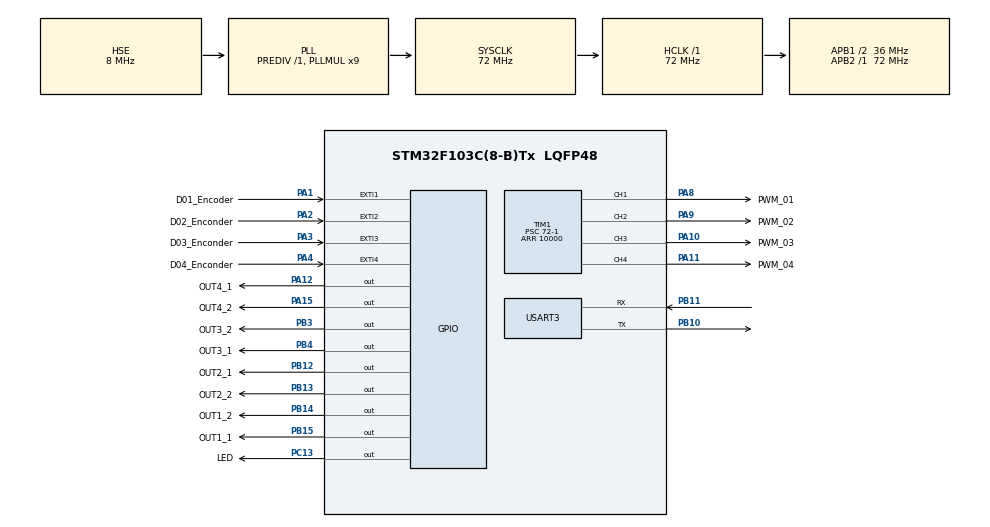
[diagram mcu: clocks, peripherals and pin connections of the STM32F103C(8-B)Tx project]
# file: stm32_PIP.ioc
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FREERTOS.HEAP_NUMBER=3
FREERTOS.Queues01=QueueDataADC,16,uint16_t,0,Dynamic,NULL,NULL
FREERTOS.Tasks01=Modbus,24,128,StartModbus,Default,NULL,Dynamic,NULL,NULL;ADC,8,128,StartADC,Default,NULL,Dynamic,NULL,NULL;Encoders,32,128,StartEncoders,Default,NULL,Dynamic,NULL,NULL;Control,32,128,StartControl,Default,NULL,Dynamic,NULL,NULL
Mcu.Family=STM32F1
Mcu.Name=STM32F103C(8-B)Tx
Mcu.Package=LQFP48
NVIC.EXTI1_IRQn=true\:5\:0\:false\:false\:true\:true\:true\:true
NVIC.EXTI2_IRQn=true\:5\:0\:false\:false\:true\:true\:true\:true
NVIC.EXTI3_IRQn=true\:5\:0\:false\:false\:true\:true\:true\:true
NVIC.EXTI4_IRQn=true\:5\:0\:false\:false\:true\:true\:true\:true
NVIC.PriorityGroup=NVIC_PRIORITYGROUP_4
NVIC.TIM2_IRQn=true\:5\:0\:false\:false\:true\:true\:true\:true
NVIC.TIM4_IRQn=true\:15\:0\:false\:false\:true\:false\:false\:true
NVIC.TimeBase=TIM4_IRQn
NVIC.TimeBaseIP=TIM4
NVIC.USART3_IRQn=true\:5\:0\:false\:false\:true\:true\:true\:true
PA1.GPIO_Label=D01_Encoder
PA1.Signal=GPXTI1
PA10.GPIO_Label=PWM_03
PA10.Signal=S_TIM1_CH3
PA11.GPIO_Label=PWM_04
PA11.Signal=S_TIM1_CH4
PA12.GPIO_Label=OUT4_1
PA12.Signal=GPIO_Output
PA13.Mode=Serial_Wire
PA13.Signal=SYS_JTMS-SWDIO
PA14.Mode=Serial_Wire
PA14.Signal=SYS_JTCK-SWCLK
PA15.GPIO_Label=OUT4_2
PA15.Signal=GPIO_Output
PA2.GPIO_Label=D02_Enconder
PA2.Signal=GPXTI2
PA3.GPIO_Label=D03_Enconder
PA3.Signal=GPXTI3
PA4.GPIO_Label=D04_Enconder
PA4.Signal=GPXTI4
PA8.GPIO_Label=PWM_01
PA8.Signal=S_TIM1_CH1
PA9.GPIO_Label=PWM_02
PA9.Signal=S_TIM1_CH2
PB10.Mode=Asynchronous
PB10.Signal=USART3_TX
PB11.Mode=Asynchronous
PB11.Signal=USART3_RX
PB12.GPIO_Label=OUT2_1
PB12.Signal=GPIO_Output
PB13.GPIO_Label=OUT2_2
PB13.Signal=GPIO_Output
PB14.GPIO_Label=OUT1_2
PB14.Signal=GPIO_Output
PB15.GPIO_Label=OUT1_1
PB15.Signal=GPIO_Output
PB3.GPIO_Label=OUT3_2
PB3.Signal=GPIO_Output
PB4.GPIO_Label=OUT3_1
PB4.Signal=GPIO_Output
PC13-TAMPER-RTC.GPIO_Label=LED
PC13-TAMPER-RTC.Signal=GPIO_Output
PD0-OSC_IN.Mode=HSE-External-Oscillator
PD0-OSC_IN.Signal=RCC_OSC_IN
PD1-OSC_OUT.Mode=HSE-External-Oscillator
PD1-OSC_OUT.Signal=RCC_OSC_OUT
ProjectManager.HeapSize=0x200
ProjectManager.StackSize=0x400
ProjectManager.TargetToolchain=STM32CubeIDE
RCC.ADCPresc=RCC_ADCPCLK2_DIV6
RCC.AHBFreq_Value=72000000
RCC.APB1CLKDivider=RCC_HCLK_DIV2
RCC.APB1Freq_Value=36000000
RCC.APB1TimFreq_Value=72000000
RCC.APB2Freq_Value=72000000
RCC.APB2TimFreq_Value=72000000
RCC.HCLKFreq_Value=72000000
RCC.PLLMUL=RCC_PLL_MUL9
RCC.PLLSourceVirtual=RCC_PLLSOURCE_HSE
RCC.SYSCLKFreq_VALUE=72000000
RCC.SYSCLKSource=RCC_SYSCLKSOURCE_PLLCLK
RCC.USBFreq_Value=72000000
SH.S_TIM1_CH1.0=TIM1_CH1,PWM Generation1 CH1
SH.S_TIM1_CH2.0=TIM1_CH2,PWM Generation2 CH2
SH.S_TIM1_CH3.0=TIM1_CH3,PWM Generation3 CH3
SH.S_TIM1_CH4.0=TIM1_CH4,PWM Generation4 CH4
TIM1.AutoReloadPreload=TIM_AUTORELOAD_PRELOAD_ENABLE
TIM1.Channel-PWM\ Generation1\ CH1=TIM_CHANNEL_1
TIM1.Channel-PWM\ Generation2\ CH2=TIM_CHANNEL_2
TIM1.Channel-PWM\ Generation3\ CH3=TIM_CHANNEL_3
TIM1.Channel-PWM\ Generation4\ CH4=TIM_CHANNEL_4
TIM1.CounterMode=TIM_COUNTERMODE_UP
TIM1.OCFastMode_PWM-PWM\ Generation1\ CH1=TIM_OCFAST_DISABLE
TIM1.Period=10000
TIM1.Prescaler=72-1
TIM2.AutoReloadPreload=TIM_AUTORELOAD_PRELOAD_ENABLE
TIM2.CounterMode=TIM_COUNTERMODE_UP
TIM2.Period=50000-1
TIM2.Prescaler=1440-1
USART3.VirtualMode=VM_ASYNC
VP_FREERTOS_VS_CMSIS_V2.Mode=CMSIS_V2
VP_SYS_VS_tim4.Mode=TIM4
VP_TIM1_VS_ClockSourceINT.Mode=Internal
VP_TIM2_VS_ClockSourceINT.Mode=Internal
board=custom

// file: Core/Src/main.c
/* USER CODE BEGIN Header */
/**
 ******************************************************************************
 * @file           : main.c
 * @brief          : Main program body
 ******************************************************************************
 * @attention
 *
 * <h2><center>&copy; Copyright (c) 2021 STMicroelectronics.
 * All rights reserved.</center></h2>
 *
 * This software component is licensed by ST under BSD 3-Clause license,
 * the "License"; You may not use this file except in compliance with the
 * License. You may obtain a copy of the License at:
 *                        opensource.org/licenses/BSD-3-Clause
 *
 ******************************************************************************
 */
/* USER CODE END Header */
#include "main.h"
#include "cmsis_os.h"

/* USER CODE BEGIN Includes */
#include "string.h"
#include "stdio.h"
#include "Modbus.h"
#include "ModbusConfig.h"

#include "contol.h"
#include "contol.c"

#include "Subsystem.c"
#include "Subsystem.h"

/* USER CODE END Includes */

TIM_HandleTypeDef htim1;
TIM_HandleTypeDef htim2;

UART_HandleTypeDef huart3;

/* Definitions for Modbus */
osThreadId_t ModbusHandle;
const osThreadAttr_t Modbus_attributes = {
  .name = "Modbus",
  .stack_size = 128 * 4,
  .priority = (osPriority_t) osPriorityNormal,
};
/* Definitions for ADC */
osThreadId_t ADCHandle;
const osThreadAttr_t ADC_attributes = {
  .name = "ADC",
  .stack_size = 128 * 4,
  .priority = (osPriority_t) osPriorityLow,
};
/* Definitions for Encoders */
osThreadId_t EncodersHandle;
const osThreadAttr_t Encoders_attributes = {
  .name = "Encoders",
  .stack_size = 128 * 4,
  .priority = (osPriority_t) osPriorityAboveNormal,
};
/* Definitions for Control */
osThreadId_t ControlHandle;
const osThreadAttr_t Control_attributes = {
  .name = "Control",
  .stack_size = 128 * 4,
  .priority = (osPriority_t) osPriorityAboveNormal,
};
/* Definitions for QueueDataADC */
osMessageQueueId_t QueueDataADCHandle;
const osMessageQueueAttr_t QueueDataADC_attributes = {
  .name = "QueueDataADC"
};

void SystemClock_Config(void);
static void MX_GPIO_Init(void);
static void MX_USART3_UART_Init(void);
static void MX_TIM1_Init(void);
static void MX_TIM2_Init(void);
void StartModbus(void *argument);
void StartADC(void *argument);
void StartEncoders(void *argument);
void StartControl(void *argument);

/* USER CODE BEGIN 0 */
//---------------->  Modbus
modbusHandler_t ModbusH;
uint16_t ModbusDATA[13]={1,0,0,0,0,0,0,0,0,0,0,0,0}; // Mapa modbus!
//---------------->
uint32_t Ts =100; // En ms!

//---------------->  Variables para calcular velocidad
float velocidad = 0;
float velocidad_prima1,velocidad_prima2;
uint32_t ticksPrev = 0;
uint32_t ticksNow = 0;
uint32_t overflow = 0; // Cantidad de desbordes del timer
uint64_t deltaTicks = 0;
uint32_t ranuras = 50;
uint32_t cantTicksTmr2 = 50000;
uint64_t fsTmr2= 50000;
uint64_t tickFilter = 625;
float mean [50] = {'\0'};
float resultMean = 0;
uint16_t interrupciones=1;

float p1[3]={1611,4604,24790};
float p2[3]={572.6,-1886,-27210};
uint32_t CCR_obtained=0;

//----------------

//float moveMean(float *arr, float vel){
//	// Vector de desplazamiento
//	for (uint16_t i = 1; i < sizeof(arr); ++i) {
//		arr[i-1]=arr[i];
//	}
//	arr[sizeof(arr)-1] = vel;
//
//	// Ahora aplico el filtro
//	float result = 0;
//	for (int i = 0; i < sizeof(arr); ++i) {
//		result += arr[i];
//	}
//	result = result/((float)sizeof(arr));
//	return result;
//}

uint32_t funcion_linealizadora(uint16_t velocidadSetpoint){

	float setp = (float)velocidadSetpoint;

	if(setp/100.0 < 0.799034){
		htim1.Instance->CCR1=(uint32_t)(p1[0]*setp/100.0+p2[0]);
	}

	if(setp/100.0 > 0.799034 && setp/100.0<=1.23805){
			htim1.Instance->CCR1=(uint32_t)(p1[1]*setp/100.0+p2[1]);
		}

	if(setp/100.0 > 1.23805) {
				htim1.Instance->CCR1=(uint32_t)(p1[2]*setp/100.0+p2[2]);
			}
	return htim1.Instance->CCR1;
}

// Si se interrumpe por flanco ascendente del pin 0 (Enconder optico)
void HAL_GPIO_EXTI_Callback (uint16_t GPIO_Pin){
	if (GPIO_Pin == D01_Encoder_Pin){
		uint32_t ticksAux = 0;
		ticksAux = ticksPrev;
		ticksPrev = ticksNow;
		ticksNow = __HAL_TIM_GetCounter(&htim2);

		if (overflow == 0){
			// Todo cool, calculo normal
			deltaTicks = (uint64_t)(ticksNow - ticksPrev);
			if (deltaTicks > tickFilter){
				velocidad = ((1/(float)ranuras)/((float)deltaTicks/(float)fsTmr2));

				//Filtro IIR
				velocidad_prima2 = velocidad_prima1;
				velocidad_prima1 = 0.9*velocidad_prima2 + 0.1*velocidad;
			}
			else{
				ticksNow = ticksPrev;
				ticksPrev = ticksAux;
			}
		} else{
			// Tuve algun desborde y tengo que tenerlo en cuenta
			deltaTicks = (uint64_t)(ticksNow + overflow * cantTicksTmr2)- ticksPrev;
			if (deltaTicks > tickFilter){
				velocidad = ((1/(float)ranuras)/((float)deltaTicks/(float)fsTmr2));

				//Filtro IIR
				velocidad_prima2 = velocidad_prima1;
				velocidad_prima1 = 0.9*velocidad_prima2 + 0.1*velocidad;

				overflow = 0;
			}
			else{
				ticksNow = ticksPrev;
				ticksPrev = ticksAux;
			}
		}

		//		if(deltaTicks == 0){
		//			velocidad = 0;
		//
		//	 }
	}

}

// Si se desborda el timer 2 entra a este callback:
//void HAL_TIM_PeriodElapsedCallback(TIM_HandleTypeDef *htim)
//{
//  /* USER CODE BEGIN Callback 0 */
//  // ESTO ES DE FREERTOS
//  /* USER CODE END Callback 0 */
//  if (htim->Instance == TIM4) {
//    HAL_IncTick();
//  }
//  /* USER CODE BEGIN Callback 1 */
//  if(htim->Instance == TIM2){
//	 overflow += 1;
//  }
//  /* USER CODE END Callback 1 */
//}

void Sentido(uint16_t valor){
	//Motor gira en un sentido
	if(valor == 0){
		HAL_GPIO_WritePin(OUT1_2_GPIO_Port, OUT1_2_Pin, SET);
		HAL_GPIO_WritePin(OUT1_1_GPIO_Port, OUT1_1_Pin, RESET);
	}
	//Motor gira en otro sentido
	else if(valor == 1){
		HAL_GPIO_WritePin(OUT1_2_GPIO_Port, OUT1_2_Pin, RESET);
		HAL_GPIO_WritePin(OUT1_1_GPIO_Port, OUT1_1_Pin, SET);

	}
	else{ // Break
		HAL_GPIO_WritePin(OUT1_2_GPIO_Port, OUT1_2_Pin, RESET);
		HAL_GPIO_WritePin(OUT1_1_GPIO_Port, OUT1_1_Pin, RESET);
	}
}

/* USER CODE END 0 */

int main(void)
{

  /* MCU Configuration--------------------------------------------------------*/

  /* Reset of all peripherals, Initializes the Flash interface and the Systick. */
  HAL_Init();

  /* Configure the system clock */
  SystemClock_Config();

  /* Initialize all configured peripherals */
  MX_GPIO_Init();
  MX_USART3_UART_Init();
  MX_TIM1_Init();
  MX_TIM2_Init();
  /* USER CODE BEGIN 2 */

  contol_initialize();

	// Definiciones para la biblioteca de modbus
	ModbusH.uModbusType = MB_SLAVE;
	ModbusH.port =  &huart3;
	ModbusH.u8id = 1; //Modbus slave ID
	ModbusH.u16timeOut = 1000;
	ModbusH.EN_Port = NULL;
	ModbusH.u16regs = ModbusDATA;
	ModbusH.u16regsize= sizeof(ModbusDATA)/sizeof(ModbusDATA[0]);
	ModbusH.xTypeHW = USART_HW;

	//Initialize Modbus library
	ModbusInit(&ModbusH);
	//Start capturing traffic on serial Port
	ModbusStart(&ModbusH);

	HAL_TIM_PWM_Start(&htim1, TIM_CHANNEL_1);

	contol_initialize();
  /* USER CODE END 2 */

  /* Init scheduler */
  osKernelInitialize();

  /* Create the queue(s) */
  /* creation of QueueDataADC */
  QueueDataADCHandle = osMessageQueueNew (16, sizeof(uint16_t), &QueueDataADC_attributes);

  /* USER CODE BEGIN RTOS_QUEUES */
	/* add queues, ... */
	//  if ( QueueDataADCHandle == 0)  // Queue not created
	//  {
	//	  char *str = "Unable to create Integer Queue\n\n";
	////	  HAL_UART_Transmit(&huart3, (uint8_t *)str, strlen (str), HAL_MAX_DELAY);
	//  }
	//  else
	//  {
	//	  char *str = "Integer Queue Created successfully\n\n";
	////	  HAL_UART_Transmit(&huart3, (uint8_t *)str, strlen (str), HAL_MAX_DELAY);
	//  }
  /* USER CODE END RTOS_QUEUES */

  /* Create the thread(s) */
  /* creation of Modbus */
  ModbusHandle = osThreadNew(StartModbus, NULL, &Modbus_attributes);

  /* creation of ADC */
  ADCHandle = osThreadNew(StartADC, NULL, &ADC_attributes);

  /* creation of Encoders */
  EncodersHandle = osThreadNew(StartEncoders, NULL, &Encoders_attributes);

  /* creation of Control */
  ControlHandle = osThreadNew(StartControl, NULL, &Control_attributes);

  /* Start scheduler */
  osKernelStart();

  /* We should never get here as control is now taken by the scheduler */
  /* Infinite loop */
	while (1)
	{

	}
}

void SystemClock_Config(void)
{
  RCC_OscInitTypeDef RCC_OscInitStruct = {0};
  RCC_ClkInitTypeDef RCC_ClkInitStruct = {0};

  /** Initializes the RCC Oscillators according to the specified parameters
  * in the RCC_OscInitTypeDef structure.
  */
  RCC_OscInitStruct.OscillatorType = RCC_OSCILLATORTYPE_HSE;
  RCC_OscInitStruct.HSEState = RCC_HSE_ON;
  RCC_OscInitStruct.HSEPredivValue = RCC_HSE_PREDIV_DIV1;
  RCC_OscInitStruct.HSIState = RCC_HSI_ON;
  RCC_OscInitStruct.PLL.PLLState = RCC_PLL_ON;
  RCC_OscInitStruct.PLL.PLLSource = RCC_PLLSOURCE_HSE;
  RCC_OscInitStruct.PLL.PLLMUL = RCC_PLL_MUL9;
  if (HAL_RCC_OscConfig(&RCC_OscInitStruct) != HAL_OK)
  {
    Error_Handler();
  }
  /** Initializes the CPU, AHB and APB buses clocks
  */
  RCC_ClkInitStruct.ClockType = RCC_CLOCKTYPE_HCLK|RCC_CLOCKTYPE_SYSCLK
                              |RCC_CLOCKTYPE_PCLK1|RCC_CLOCKTYPE_PCLK2;
  RCC_ClkInitStruct.SYSCLKSource = RCC_SYSCLKSOURCE_PLLCLK;
  RCC_ClkInitStruct.AHBCLKDivider = RCC_SYSCLK_DIV1;
  RCC_ClkInitStruct.APB1CLKDivider = RCC_HCLK_DIV2;
  RCC_ClkInitStruct.APB2CLKDivider = RCC_HCLK_DIV1;

  if (HAL_RCC_ClockConfig(&RCC_ClkInitStruct, FLASH_LATENCY_2) != HAL_OK)
  {
    Error_Handler();
  }
}

static void MX_TIM1_Init(void)
{

  TIM_ClockConfigTypeDef sClockSourceConfig = {0};
  TIM_MasterConfigTypeDef sMasterConfig = {0};
  TIM_OC_InitTypeDef sConfigOC = {0};
  TIM_BreakDeadTimeConfigTypeDef sBreakDeadTimeConfig = {0};

  htim1.Instance = TIM1;
  htim1.Init.Prescaler = 72-1;
  htim1.Init.CounterMode = TIM_COUNTERMODE_UP;
  htim1.Init.Period = 10000;
  htim1.Init.ClockDivision = TIM_CLOCKDIVISION_DIV1;
  htim1.Init.RepetitionCounter = 0;
  htim1.Init.AutoReloadPreload = TIM_AUTORELOAD_PRELOAD_ENABLE;
  if (HAL_TIM_Base_Init(&htim1) != HAL_OK)
  {
    Error_Handler();
  }
  sClockSourceConfig.ClockSource = TIM_CLOCKSOURCE_INTERNAL;
  if (HAL_TIM_ConfigClockSource(&htim1, &sClockSourceConfig) != HAL_OK)
  {
    Error_Handler();
  }
  if (HAL_TIM_PWM_Init(&htim1) != HAL_OK)
  {
    Error_Handler();
  }
  sMasterConfig.MasterOutputTrigger = TIM_TRGO_RESET;
  sMasterConfig.MasterSlaveMode = TIM_MASTERSLAVEMODE_DISABLE;
  if (HAL_TIMEx_MasterConfigSynchronization(&htim1, &sMasterConfig) != HAL_OK)
  {
    Error_Handler();
  }
  sConfigOC.OCMode = TIM_OCMODE_PWM1;
  sConfigOC.Pulse = 0;
  sConfigOC.OCPolarity = TIM_OCPOLARITY_HIGH;
  sConfigOC.OCNPolarity = TIM_OCNPOLARITY_HIGH;
  sConfigOC.OCFastMode = TIM_OCFAST_DISABLE;
  sConfigOC.OCIdleState = TIM_OCIDLESTATE_RESET;
  sConfigOC.OCNIdleState = TIM_OCNIDLESTATE_RESET;
  if (HAL_TIM_PWM_ConfigChannel(&htim1, &sConfigOC, TIM_CHANNEL_1) != HAL_OK)
  {
    Error_Handler();
  }
  if (HAL_TIM_PWM_ConfigChannel(&htim1, &sConfigOC, TIM_CHANNEL_2) != HAL_OK)
  {
    Error_Handler();
  }
  if (HAL_TIM_PWM_ConfigChannel(&htim1, &sConfigOC, TIM_CHANNEL_3) != HAL_OK)
  {
    Error_Handler();
  }
  if (HAL_TIM_PWM_ConfigChannel(&htim1, &sConfigOC, TIM_CHANNEL_4) != HAL_OK)
  {
    Error_Handler();
  }
  sBreakDeadTimeConfig.OffStateRunMode = TIM_OSSR_DISABLE;
  sBreakDeadTimeConfig.OffStateIDLEMode = TIM_OSSI_DISABLE;
  sBreakDeadTimeConfig.LockLevel = TIM_LOCKLEVEL_OFF;
  sBreakDeadTimeConfig.DeadTime = 0;
  sBreakDeadTimeConfig.BreakState = TIM_BREAK_DISABLE;
  sBreakDeadTimeConfig.BreakPolarity = TIM_BREAKPOLARITY_HIGH;
  sBreakDeadTimeConfig.AutomaticOutput = TIM_AUTOMATICOUTPUT_DISABLE;
  if (HAL_TIMEx_ConfigBreakDeadTime(&htim1, &sBreakDeadTimeConfig) != HAL_OK)
  {
    Error_Handler();
  }
  HAL_TIM_MspPostInit(&htim1);

}

static void MX_TIM2_Init(void)
{

  TIM_ClockConfigTypeDef sClockSourceConfig = {0};
  TIM_MasterConfigTypeDef sMasterConfig = {0};

  htim2.Instance = TIM2;
  htim2.Init.Prescaler = 1440-1;
  htim2.Init.CounterMode = TIM_COUNTERMODE_UP;
  htim2.Init.Period = 50000-1;
  htim2.Init.ClockDivision = TIM_CLOCKDIVISION_DIV1;
  htim2.Init.AutoReloadPreload = TIM_AUTORELOAD_PRELOAD_ENABLE;
  if (HAL_TIM_Base_Init(&htim2) != HAL_OK)
  {
    Error_Handler();
  }
  sClockSourceConfig.ClockSource = TIM_CLOCKSOURCE_INTERNAL;
  if (HAL_TIM_ConfigClockSource(&htim2, &sClockSourceConfig) != HAL_OK)
  {
    Error_Handler();
  }
  sMasterConfig.MasterOutputTrigger = TIM_TRGO_RESET;
  sMasterConfig.MasterSlaveMode = TIM_MASTERSLAVEMODE_DISABLE;
  if (HAL_TIMEx_MasterConfigSynchronization(&htim2, &sMasterConfig) != HAL_OK)
  {
    Error_Handler();
  }

}

static void MX_USART3_UART_Init(void)
{

  huart3.Instance = USART3;
  huart3.Init.BaudRate = 115200;
  huart3.Init.WordLength = UART_WORDLENGTH_8B;
  huart3.Init.StopBits = UART_STOPBITS_1;
  huart3.Init.Parity = UART_PARITY_NONE;
  huart3.Init.Mode = UART_MODE_TX_RX;
  huart3.Init.HwFlowCtl = UART_HWCONTROL_NONE;
  huart3.Init.OverSampling = UART_OVERSAMPLING_16;
  if (HAL_UART_Init(&huart3) != HAL_OK)
  {
    Error_Handler();
  }

}

static void MX_GPIO_Init(void)
{
  GPIO_InitTypeDef GPIO_InitStruct = {0};

  /* GPIO Ports Clock Enable */
  __HAL_RCC_GPIOC_CLK_ENABLE();
  __HAL_RCC_GPIOD_CLK_ENABLE();
  __HAL_RCC_GPIOA_CLK_ENABLE();
  __HAL_RCC_GPIOB_CLK_ENABLE();

  /*Configure GPIO pin Output Level */
  HAL_GPIO_WritePin(LED_GPIO_Port, LED_Pin, GPIO_PIN_RESET);

  /*Configure GPIO pin Output Level */
  HAL_GPIO_WritePin(GPIOB, OUT2_1_Pin|OUT2_2_Pin|OUT1_2_Pin|OUT1_1_Pin
                          |OUT3_2_Pin|OUT3_1_Pin, GPIO_PIN_RESET);

  /*Configure GPIO pin Output Level */
  HAL_GPIO_WritePin(GPIOA, OUT4_1_Pin|OUT4_2_Pin, GPIO_PIN_RESET);

  /*Configure GPIO pin : LED_Pin */
  GPIO_InitStruct.Pin = LED_Pin;
  GPIO_InitStruct.Mode = GPIO_MODE_OUTPUT_PP;
  GPIO_InitStruct.Pull = GPIO_NOPULL;
  GPIO_InitStruct.Speed = GPIO_SPEED_FREQ_LOW;
  HAL_GPIO_Init(LED_GPIO_Port, &GPIO_InitStruct);

  /*Configure GPIO pins : D01_Encoder_Pin D02_Enconder_Pin D03_Enconder_Pin D04_Enconder_Pin */
  GPIO_InitStruct.Pin = D01_Encoder_Pin|D02_Enconder_Pin|D03_Enconder_Pin|D04_Enconder_Pin;
  GPIO_InitStruct.Mode = GPIO_MODE_IT_RISING;
  GPIO_InitStruct.Pull = GPIO_NOPULL;
  HAL_GPIO_Init(GPIOA, &GPIO_InitStruct);

  /*Configure GPIO pins : OUT2_1_Pin OUT2_2_Pin OUT1_2_Pin OUT1_1_Pin
                           OUT3_2_Pin OUT3_1_Pin */
  GPIO_InitStruct.Pin = OUT2_1_Pin|OUT2_2_Pin|OUT1_2_Pin|OUT1_1_Pin
                          |OUT3_2_Pin|OUT3_1_Pin;
  GPIO_InitStruct.Mode = GPIO_MODE_OUTPUT_PP;
  GPIO_InitStruct.Pull = GPIO_NOPULL;
  GPIO_InitStruct.Speed = GPIO_SPEED_FREQ_LOW;
  HAL_GPIO_Init(GPIOB, &GPIO_InitStruct);

  /*Configure GPIO pins : OUT4_1_Pin OUT4_2_Pin */
  GPIO_InitStruct.Pin = OUT4_1_Pin|OUT4_2_Pin;
  GPIO_InitStruct.Mode = GPIO_MODE_OUTPUT_PP;
  GPIO_InitStruct.Pull = GPIO_NOPULL;
  GPIO_InitStruct.Speed = GPIO_SPEED_FREQ_LOW;
  HAL_GPIO_Init(GPIOA, &GPIO_InitStruct);

  /* EXTI interrupt init*/
  HAL_NVIC_SetPriority(EXTI1_IRQn, 5, 0);
  HAL_NVIC_EnableIRQ(EXTI1_IRQn);

  HAL_NVIC_SetPriority(EXTI2_IRQn, 5, 0);
  HAL_NVIC_EnableIRQ(EXTI2_IRQn);

  HAL_NVIC_SetPriority(EXTI3_IRQn, 5, 0);
  HAL_NVIC_EnableIRQ(EXTI3_IRQn);

  HAL_NVIC_SetPriority(EXTI4_IRQn, 5, 0);
  HAL_NVIC_EnableIRQ(EXTI4_IRQn);

}

void StartModbus(void *argument)
{
  /* USER CODE BEGIN 5 */
	//	int i =0;
	//	char buff[64];
	uint16_t valor =1234;
	char *prt;
	osStatus_t status;
	/* Infinite loop */
	for(;;)
	{
		//	  osMessageGet( QueueDataADCHandle, &valor, 0 );
		prt=pvPortMalloc(100*sizeof (char));
		sprintf(prt,"Dato leido de la Queue: %u \n",valor);

		status = osMessageQueueGet(QueueDataADCHandle, &valor, NULL, 5000);   // wait for message
		if (status == osOK) {
			//	HAL_UART_Transmit(&huart3, (uint8_t*)prt, strlen(prt), 100);
			vPortFree(prt);
			; // process data
		}

		osDelay(900);
		//    ModbusDATA[5]= ++i;

	}
  /* USER CODE END 5 */
}

void StartADC(void *argument)
{
  /* USER CODE BEGIN StartADC */

	//	uint16_t adc1[4];
	//	HAL_ADC_Start_DMA(&hadc1, (uint32_t*)adc1,sizeof (adc1));
	//	HAL_ADC_Start_DMA(hadc, pData, Length)
	/* Infinite loop */
	for(;;)
	{
		//	HAL_ADC_Stop_DMA(&hadc1);
		//	HAL_ADC_Start_DMA(&hadc1, (uint32_t*)adc1,sizeof (adc1));
		//	adc1 = HAL_ADC_PollForConversion(&hadc1, 5000);
		//	osMessageQueuePut(QueueDataADCHandle, &adc1, 5000);
		//	osMessageQueuePut(QueueDataADCHandle, &adc1[0], NULL, 5000);
		//	osThreadYield();

		osDelay(1000);
	}
  /* USER CODE END StartADC */
}

void StartEncoders(void *argument)
{
  /* USER CODE BEGIN StartEncoders */
	// Signo esta en ModbusDATA[0]
	// Setpoint esta enModbusDATA[1]
	// Velocidad es global

	uint16_t pasador[2];
	uint16_t delta[2];// para mandar los deltaticks
	uint16_t meanData[2];

	HAL_TIM_Base_Start_IT(&htim2);
	/* Infinite loop */
	for(;;)
	{

		//    Velocidad(ModbusDATA[0]);// Calculo la velocidad para devolver por modbus
		osDelay(Ts);// Delta T
		Sentido(ModbusDATA[0]);

		memcpy(meanData, &deltaTicks, sizeof(deltaTicks));
		ModbusDATA[4]=meanData[0];
		ModbusDATA[5]=meanData[1];

		memcpy(pasador, &velocidad, sizeof(velocidad));//velocidad_prima1
		ModbusDATA[8]=pasador[0];
		ModbusDATA[9]=pasador[1];

		memcpy(delta, &velocidad_prima1, sizeof(velocidad_prima1));
		ModbusDATA[10]=delta[0];
		ModbusDATA[11]=delta[1];

		CCR_obtained=funcion_linealizadora(ModbusDATA[1]);

		memcpy(meanData, &CCR_obtained, sizeof(CCR_obtained));
				ModbusDATA[4]=meanData[0];
				ModbusDATA[5]=meanData[1];

		ModbusDATA[6] = overflow;
		if(overflow >= 2){
			velocidad = 0;
			velocidad_prima1 = 0;
			//overflow = 0;
		}

	}
  /* USER CODE END StartEncoders */
}

void StartControl(void *argument)
{
  /* USER CODE BEGIN StartControl */
	// Datos de SIMULINK:

//	float p = 20;//0.104619555027225;
//	float i = 20.923911005445;
//	float d = 0;
//	float N = 100;
//	float T = 0.01;
////	float setPoint = (float)ModbusDATA[1]*1.5/10000.0; // 0  - 0 y 10000 - 1.5 [RPS]
	float U[3] = {0, 0 ,0};// U[0] es la actual
//	float Y[4] = {0, 0, 0, 0};// Y[0] es la actual
//	float num[] = {0.001474, 0.03026, 0.02879};
//	float den[] = {0.001472, 0.3377, -1.279};
	float setpoint;
//	float entradaPID[2] = {0, 0};
//	float CCR[2] = {0, 0};

	/* Infinite loop */
	for(;;)
	{
		osDelay(50);

		U[2] = U[1];
		U[1] = U[0];
		setpoint = (float)(ModbusDATA[1]/100.0); // 0  -> 0 y 10000 -> 1.5 [RPS]
		rtEntrada_Control = setpoint-velocidad_prima1;
		contol_step();
		CCR_obtained=funcion_linealizadora(rtSalida_Control);
		htim1.Instance->CCR1 = CCR_obtained;
//		Y[3] = Y[2];
//		Y[2] = Y[1];
//		Y[1] = Y[0];// Y es la velocidad y U es el setpoint
//		Y[0] = velocidad_prima1;
////		U[0] = (-Y[0] -den[2]*Y[1] - den[1]*Y[2] - den[0]*Y[3] + num[1]*U[1] + num[0]*U[2])/num[2]+setpoint; // da en RPS
//
//		//entradaPID = setpoint-Y[0]
//		CCR[1] = CCR[0];
//		entradaPID[1] = entradaPID[0];
//		entradaPID[0] = setpoint - Y[0];
//		CCR[0] = CCR[1] + entradaPID[0]*p;// + entradaPID[1]*(i*T-p);

		//CCR[0] = (setpoint-velocidad_prima1)*p;

		// 0  -> 0 y 10000 -> 1.5 [RPS]
//		htim1.Instance->CCR1 = ModbusDATA[1];
		//htim1.Instance->CCR1 = (uint32_t)(CCR[0]*10000.0/1.5);
	}
  /* USER CODE END StartControl */
}

void HAL_TIM_PeriodElapsedCallback(TIM_HandleTypeDef *htim)
{
  /* USER CODE BEGIN Callback 0 */
//  // ESTO ES DE FREERTOS
  /* USER CODE END Callback 0 */
  if (htim->Instance == TIM4) {
    HAL_IncTick();
  }
  /* USER CODE BEGIN Callback 1 */
  if(htim->Instance == TIM2){
	 overflow += 1;
	 HAL_GPIO_TogglePin(LED_GPIO_Port, LED_Pin);
  }
  /* USER CODE END Callback 1 */
}

void Error_Handler(void)
{
	__disable_irq();
	while (1)
	{
	}
}
